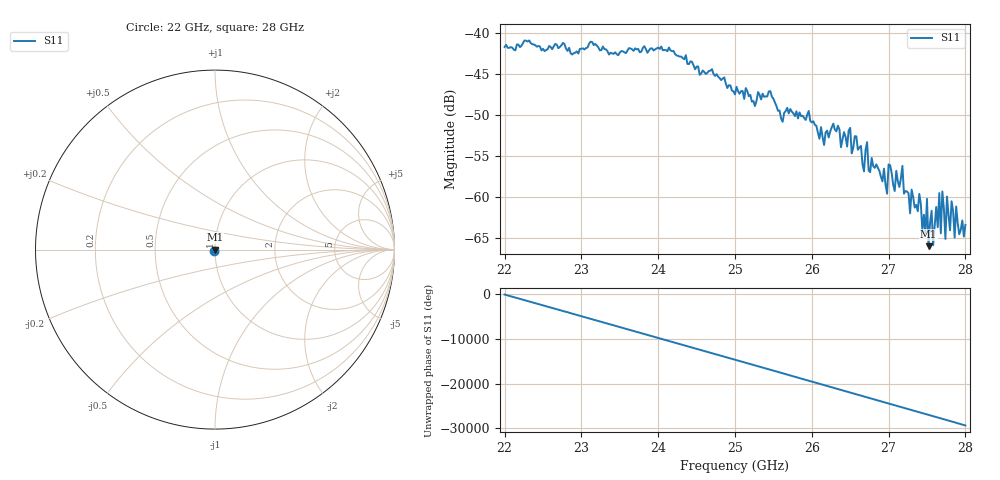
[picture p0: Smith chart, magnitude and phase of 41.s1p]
#  HZ  S  RI  R  50.00
! Rohde & Schwarz ZVA40 4Ports - Version 3.90 - 1145.1110k42 SN: 100403
! Date: 2023-10-04 08:46:49
! Measurement: S12
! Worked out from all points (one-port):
!   301 points, 22 GHz to 28 GHz, reference 50 ohm
!   lowest |S11| = -66.0 dB at 27.52 GHz (marker M1), VSWR 1.00, Z = 50 + j0.028 ohm
!   |S11| at or under -10 dB: start of sweep to end of sweep
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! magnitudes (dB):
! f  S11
! 22 GHz  -41.7
! 22.76 GHz  -41.2
! 23.5 GHz  -42.4
! 24.26 GHz  -42.8
! 25 GHz  -47.5
! 25.76 GHz  -49.8
! 26.5 GHz  -51.6
! 26.68 GHz  -56.9
! 26.72 GHz  -53.3
! 26.98 GHz  -59.6
! 27 GHz  -56.1
! 27.26 GHz  -59.6
! 27.4 GHz  -59.7
! 27.48 GHz  -64.4
! 27.5 GHz  -60.3
! 27.52 GHz  -66.0
! 27.56 GHz  -61.7
! 27.58 GHz  -65.9
! 27.62 GHz  -61.3
! 27.64 GHz  -63.7
! 27.66 GHz  -59.6
! 27.68 GHz  -64.5
! 27.7 GHz  -59.4
! 27.74 GHz  -65.2
! 27.76 GHz  -60.0
! 27.86 GHz  -65.0
! 27.88 GHz  -61.2
! 28 GHz  -63.4
